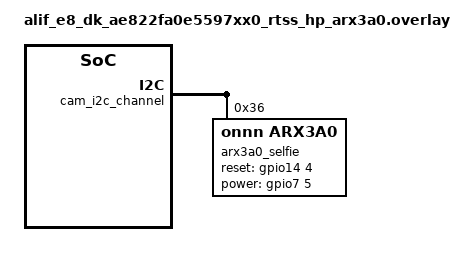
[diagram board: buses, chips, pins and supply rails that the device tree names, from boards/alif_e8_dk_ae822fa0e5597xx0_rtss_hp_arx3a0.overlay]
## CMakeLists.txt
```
# Copyright Alif Semiconductor - All Rights Reserved.
# Use, distribution and modification of this code is permitted under the
# terms stated in the Alif Semiconductor Software License Agreement.

cmake_minimum_required(VERSION 3.20.0)
find_package(Zephyr REQUIRED HINTS $ENV{ZEPHYR_BASE})
project(alif_usb_uvc)

target_sources(app PRIVATE src/test_uvc.c src/platform.c)
target_include_directories(app PRIVATE src)
include(${ZEPHYR_BASE}/samples/subsys/usb/common/common.cmake)
```

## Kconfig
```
# Copyright Alif Semiconductor - All Rights Reserved.
# Use, distribution and modification of this code is permitted under the
# terms stated in the Alif Semiconductor Software License Agreement.

# Source common USB sample options used to initialize USB device stack.
source "samples/subsys/usb/common/Kconfig.sample_usbd"

source "Kconfig.zephyr"
```

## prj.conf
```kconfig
# Copyright Alif Semiconductor - All Rights Reserved.
# Use, distribution and modification of this code is permitted under the
# terms stated in the Alif Semiconductor Software License Agreement.

CONFIG_VIDEO=y
CONFIG_LOG=y
CONFIG_PRINTK=y
CONFIG_STDOUT_CONSOLE=y
CONFIG_I2C=y
CONFIG_I2C_DW_CLOCK_SPEED=100
CONFIG_SYS_HEAP_AUTO=y

CONFIG_USB_DEVICE_STACK_NEXT=y
CONFIG_USBD_VIDEO_CLASS=y
CONFIG_SAMPLE_USBD_PID=0x0009
CONFIG_SAMPLE_USBD_PRODUCT="Alif UVC Video Capture"
CONFIG_SAMPLE_USBD_MANUFACTURER="Alif Semiconductor"

CONFIG_UDC_BUF_POOL_SIZE=8192
CONFIG_UDC_BUF_COUNT=16

CONFIG_UDC_DRIVER_LOG_LEVEL_ERR=y
CONFIG_USBD_LOG_LEVEL_ERR=y
CONFIG_VIDEO_LOG_LEVEL_WRN=y

CONFIG_ZTEST=y
CONFIG_ZTEST_STACK_SIZE=8192
CONFIG_MAIN_STACK_SIZE=4096
CONFIG_SYSTEM_WORKQUEUE_STACK_SIZE=2048
```

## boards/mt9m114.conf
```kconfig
# Extra Kconfig for the E8 DK MT9M114 build. Pass with OVERLAY_CONFIG alongside
# the MT9M114 DTC overlay (see README). The E8 board .conf (ISP lib + JPEG +
# buffer pool) is applied automatically by board name and still holds.

# The MT9M114 here is used on the MIPI CSI-2 (serial) path, not the parallel
# bus. This must be off: with it on the driver drops its higher-resolution CSI
# modes (including the Y10P 1288x728 ISP input this sample uses).
CONFIG_MT9M114_PARALLEL_INIT=n

# The MT9M114 MIPI supply is a fixed regulator (see the overlay). REGULATOR is a
# top-level menuconfig and is not auto-selected by the devicetree node, so
# enable it (and give the fixed regulator an early init priority so the sensor
# is powered before it is probed).
CONFIG_REGULATOR=y
CONFIG_REGULATOR_FIXED_INIT_PRIORITY=40

# Apply the GT911 touch reset-hold GPIO hog from the MT9M114 overlay. The MW405
# display's GT911 touch controller shares i2c1 and has the same address (0x5D)
# as the MT9M114; holding it in reset stops it colliding with the camera.
CONFIG_GPIO_HOGS=y

# Video buffer pool for the 1280x720 pipeline (overrides the E8 board .conf,
# which is sized for the 480x480 ARX3A0 default). The pool holds TWO NV12
# 1280x720 frames (2 x 1280*720*1.5 = 2,764,800 B - two are needed so the ISP
# keeps capturing while one frame is JPEG-encoded and sent) plus the JPEG output
# buffer (width*height = 921,600 B). That is three allocations totalling
# ~3.69 MB, so NUM_MAX must be >= 3. SZ_MAX x NUM_MAX is the total heap:
# 1,250,000 x 3 = 3.75 MB holds all three with headroom and fits SRAM0 (4 MB).
CONFIG_VIDEO_BUFFER_POOL_SZ_MAX=1250000
CONFIG_VIDEO_BUFFER_POOL_NUM_MAX=3
```

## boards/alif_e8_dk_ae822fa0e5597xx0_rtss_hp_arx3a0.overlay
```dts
/* Copyright (C) 2026 Alif Semiconductor - All Rights Reserved.
 * Use, distribution and modification of this code are permitted under the
 * terms stated in the Alif Semiconductor Software License Agreement.
 *
 * You should have received a copy of the Alif Semiconductor Software
 * License Agreement with this file. If not, please write to:
 * contact@alifsemi.com, or visit: https://alifsemi.com/license
 *
 * E8 DK (RTSS-HP) - ARX3A0 sensor overlay:
 *   ARX3A0 (MIPI CSI-2) -> ISP (NV12 560x560) -> Hantro JPEG encoder -> UVC.
 *
 * Merge this on top of the auto-applied board overlay
 * alif_e8_dk_ae822fa0e5597xx0_rtss_hp.overlay with EXTRA_DTC_OVERLAY_FILE (see
 * the README). That board overlay carries all the common E8 plumbing (USB,
 * NON_SECURE0, AIPM, ISP/CPI graph, CSI receiver, i2c-mux, JPEG, UVC); this
 * file only adds the ARX3A0 sensor node and the CSI input endpoint.
 */

#include <dt-bindings/gpio/gpio.h>
#include <dt-bindings/video/video-interfaces.h>

/* ARX3A0 (I2C 0x36) on the camera i2c-mux channel. */
&cam_i2c_channel {
	arx3a0_selfie: arx3a0_selfie@36 {
		compatible = "onnn,arx3a0";
		reg = <0x36>;

		reset-gpios = <&gpio14 4 GPIO_ACTIVE_HIGH>;
		power-gpios = <&gpio7 5 GPIO_ACTIVE_HIGH>;

		status = "okay";

		port {
			arx3a0_csi2_ep_out0: endpoint {
				bus-type = <VIDEO_BUS_TYPE_CSI2_DPHY>;
				link-frequencies = < 400000000 >;
				data-lanes = <1 2>;
				clock-lane = <0>;

				remote-endpoint-label = "csi2_ep_in0";
			};
		};
	};
};

/* CSI input endpoint: the ARX3A0 uses two data lanes. */
&csi {
	ports {
		port@0 {
			reg = <0>;
			csi2_ep_in0: endpoint {
				bus-type = <VIDEO_BUS_TYPE_CSI2_DPHY>;
				data-lanes = <1 2>;
				clock-lane = <0>;

				remote-endpoint-label = "arx3a0_csi2_ep_out0";
			};
		};
	};
};
```

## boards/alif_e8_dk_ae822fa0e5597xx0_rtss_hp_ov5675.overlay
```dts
/* Copyright (C) 2026 Alif Semiconductor - All Rights Reserved.
 * Use, distribution and modification of this code are permitted under the
 * terms stated in the Alif Semiconductor Software License Agreement.
 *
 * You should have received a copy of the Alif Semiconductor Software
 * License Agreement with this file. If not, please write to:
 * contact@alifsemi.com, or visit: https://alifsemi.com/license
 *
 * E8 DK (RTSS-HP) - OV5675 sensor overlay:
 *   OV5675 (MIPI CSI-2, RAW10) -> ISP (NV12 1024x768) -> Hantro JPEG -> UVC.
 *
 * Merge this on top of the auto-applied board overlay
 * alif_e8_dk_ae822fa0e5597xx0_rtss_hp.overlay with EXTRA_DTC_OVERLAY_FILE (see
 * the README). The board overlay carries all the common E8 plumbing; this file
 * adds the OV5675 sensor node, the CSI input endpoint (two data lanes) and the
 * Fast-mode I2C tuning.
 *
 * Resolution: the OV5675 streams its 2x2-binned full-FOV 1296x972 RAW10 mode.
 * The ISP debayers it and DOWNSCALES to 1024x768 NV12 (the app sets that as the
 * ISP output/capture format in main.c; the ISP scaler resizes the full
 * 1296x972 input down to it). 1024x768 keeps the sensor's native 4:3 aspect
 * ratio, has both dimensions 16-pixel aligned (so the Hantro JPEG encoder,
 * which encodes in 16x16 MCUs, needs no edge padding), and its NV12 buffers fit
 * the SRAM0 video pool (see ov5675.conf). No crop is applied here
 * (crop-x0/crop-y0 default to 0), so the full field of view is preserved.
 */

#include <dt-bindings/i2c/i2c.h>
#include <dt-bindings/gpio/gpio.h>
#include <dt-bindings/video/video-interfaces.h>

/* The OV5675 needs Fast-mode I2C (the board overlay only enables i2c1). */
&i2c1 {
	clock-frequency = <I2C_BITRATE_FAST>;

	/*
	 * For Standard  speed LCNT=0  and HCNT=0
	 * For Fast      speed LCNT=50 and HCNT=30
	 * For Fast Plus speed LCNT=35 and HCNT=5
	 */
	hcnt-offset = <30>;
	lcnt-offset = <50>;
};

/* OV5675 on the camera i2c-mux channel. */
&cam_i2c_channel {
	/* 0x10 for the compact module, 0x36 for the legacy one. */
	ov5675_selfie: ov5675_selfie@10 {
		compatible = "ovti,ov5675";
		reg = <0x10>;

		reset-gpios = <&gpio14 4 GPIO_ACTIVE_HIGH>;
		power-gpios = <&gpio7 5 GPIO_ACTIVE_HIGH>;

		status = "okay";

		port {
			ov5675_csi2_ep_out0: endpoint {
				bus-type = <VIDEO_BUS_TYPE_CSI2_DPHY>;
				link-frequencies = < 400000000 >;
				data-lanes = <1 2>;
				clock-lane = <0>;

				remote-endpoint-label = "csi2_ep_in0";
			};
		};
	};
};

/* CSI input endpoint: the OV5675 uses two data lanes. */
&csi {
	ports {
		port@0 {
			reg = <0>;
			csi2_ep_in0: endpoint {
				bus-type = <VIDEO_BUS_TYPE_CSI2_DPHY>;
				data-lanes = <1 2>;
				clock-lane = <0>;

				remote-endpoint-label = "ov5675_csi2_ep_out0";
			};
		};
	};
};
```

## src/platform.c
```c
/*
 * Copyright (C) 2026 Alif Semiconductor.
 * SPDX-License-Identifier: Apache-2.0
 *
 * SoC bring-up for the UVC webcam sample: the SE-service run profile plus the
 * camera pixel clock (and, on the parallel-camera boards, the OV5640 enable
 * buffer). This is board/SoC plumbing that runs once at PRE_KERNEL_1 and is
 * not part of the UVC sample logic, so it lives here rather than in main.c.
 */

#include "pipeline.h"

#include <zephyr/kernel.h>
#include <zephyr/init.h>
#include <zephyr/device.h>
#include <zephyr/devicetree.h>
#include <zephyr/drivers/gpio.h>
#include <soc_common.h>
#include <se_service.h>

#include <zephyr/logging/log.h>
LOG_MODULE_REGISTER(uvc_platform, LOG_LEVEL_INF);

#if UVC_OUTPUT_MJPEG
/*
 * Weak hook the Alif ISP library links against to gate its own log output.
 * 0 = silent; raise for ISP-lib debugging.
 */
int log_level(void)
{
	return 0;
}
#endif

/*
 * Program the SE-service run profile and the camera pixel clock so the camera
 * pipeline and USB PHY are powered before the drivers probe. The run profile is
 * common to both pipelines; only the CPU clock, the pixel-clock register and
 * (RGB565 only) the OV5640 enable-buffer GPIO differ.
 */
static int app_set_parameters(void)
{
	run_profile_t runp = { 0 };
	int ret;

#if UVC_OUTPUT_MJPEG
	/* E8: enable HFOSC (38.4 MHz) and CFG (100 MHz) clocks. */
	sys_set_bits(CGU_CLK_ENA, BIT(23) | BIT(7));
#endif

	runp.power_domains  = PD_SYST_MASK | PD_SSE700_AON_MASK | PD_DBSS_MASK;
	runp.dcdc_voltage   = 825;
	runp.dcdc_mode      = DCDC_MODE_PWM;
	runp.aon_clk_src    = CLK_SRC_LFXO;
	runp.run_clk_src    = CLK_SRC_PLL;
	runp.vdd_ioflex_3V3 = IOFLEX_LEVEL_1V8;
#if UVC_OUTPUT_MJPEG && defined(CONFIG_RTSS_HP)
	runp.cpu_clk_freq   = CLOCK_FREQUENCY_400MHZ;
#else
	runp.cpu_clk_freq   = CLOCK_FREQUENCY_160MHZ;
#endif

	runp.memory_blocks = MRAM_MASK;
#if DT_NODE_EXISTS(DT_NODELABEL(sram0))
	runp.memory_blocks |= SRAM0_MASK;
#endif

	runp.phy_pwr_gating  = MIPI_TX_DPHY_MASK | MIPI_RX_DPHY_MASK |
			       MIPI_PLL_DPHY_MASK | LDO_PHY_MASK | USB_PHY_MASK;
	runp.ip_clock_gating = CAMERA_MASK | MIPI_CSI_MASK | MIPI_DSI_MASK |
			       USB_MASK;

	ret = se_service_set_run_cfg(&runp);
	if (ret) {
		__ASSERT(false, "SE: set_run_cfg failed = %d", ret);
		return ret;
	}

#if UVC_OUTPUT_MJPEG
	/* CPI/CSI pixel clock (XVCLK) used by the CSI-2 sensor. */
	sys_write32(0x140001, CLKCTRL_PER_MST_CAMERA_PIXCLK_CTRL);
#else
	/* LP-CAM pixel clock and OV5640 enable-buffer GPIO. */
	sys_write32(0x080001, M55HE_CFG_HE_CAMERA_PIXCLK);

	const struct gpio_dt_spec cam_enbuf =
		GPIO_DT_SPEC_GET(DT_NODELABEL(cam_enbuf), enable_gpios);

	gpio_pin_configure_dt(&cam_enbuf, GPIO_OUTPUT_ACTIVE);
#endif

	return 0;
}

SYS_INIT(app_set_parameters, PRE_KERNEL_1, 46);
```

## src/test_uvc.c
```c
/*
 * Copyright Alif Semiconductor - All Rights Reserved.
 * Use, distribution and modification of this code is permitted under the
 * terms stated in the Alif Semiconductor Software License Agreement.
 *
 * Device-side ztest for the E8 DK UVC webcam pipeline. One sensor per image:
 *   MT9M114  Y10P 1288x728 -> NV12/JPEG 1280x720
 *   ARX3A0   Y10P 560x560  -> NV12/JPEG 560x560
 *   OV5675   Y10P 1296x972 -> NV12/JPEG 1024x768
 *
 * Uses the public video and UVC APIs. Does not call usbd_disable: on DWC3
 * that drops the host webcam. After the suite a thread waits for the host
 * COMMIT and streams, so ffplay can be opened once the UART shows SUCCESS.
 */

#include "pipeline.h"

#include <sample_usbd.h>

#include <zephyr/ztest.h>
#include <zephyr/device.h>
#include <zephyr/kernel.h>
#include <zephyr/cache.h>
#include <zephyr/drivers/video.h>
#include <zephyr/drivers/video-controls.h>
#include <zephyr/usb/usbd.h>
#include <zephyr/usb/class/usbd_uvc.h>
#include <zephyr/sys/util.h>

#include <string.h>
#include <errno.h>

#if !UVC_OUTPUT_MJPEG
#error "UVC QA expects the E8 JPEG pipeline (jpeg0 okay)"
#endif

#if DT_NODE_EXISTS(DT_NODELABEL(mt9m114_selfie))
#define UVC_SENSOR_NAME       "MT9M114"
#define UVC_EXPECT_NV12_BYTES 1382400U
#define UVC_EXPECT_JPEG_BYTES 921600U
#define UVC_EXPECT_ISP_PITCH  2576U
#elif DT_NODE_EXISTS(DT_NODELABEL(ov5675_selfie))
#define UVC_SENSOR_NAME       "OV5675"
#define UVC_EXPECT_NV12_BYTES 1179648U
#define UVC_EXPECT_JPEG_BYTES 786432U
#define UVC_EXPECT_ISP_PITCH  2592U
#elif DT_NODE_EXISTS(DT_NODELABEL(arx3a0_selfie))
#define UVC_SENSOR_NAME       "ARX3A0"
#define UVC_EXPECT_NV12_BYTES 470400U
#define UVC_EXPECT_JPEG_BYTES 313600U
#define UVC_EXPECT_ISP_PITCH  1120U
#else
#error "Pass the ARX3A0, MT9M114, or OV5675 EXTRA_DTC_OVERLAY_FILE"
#endif

#define N_CAPTURE_BUFFERS 2
#define CAPTURE_TIMEOUT   K_MSEC(3000)
#define STRESS_POLLS      30
#define STRESS_RESTARTS   4
#define STRESS_JPEGS      8
#define PERF_FRAMES       4

struct uvc_ctx {
	const struct device *isp;
	const struct device *jpeg;
	const struct device *uvc;
	struct usbd_context *usbd;
	struct video_buffer *cap[N_CAPTURE_BUFFERS];
	struct video_buffer *jpeg_buf;
};

static struct uvc_ctx ctx;
static struct uvc_qa_fixture {
	struct uvc_ctx *ctx;
} qa_fixture;

static atomic_t usb_bus_active = ATOMIC_INIT(1);

static void usbd_msg_cb(struct usbd_context *const uds, const struct usbd_msg *const msg)
{
	ARG_UNUSED(uds);

	switch (msg->type) {
	case USBD_MSG_VBUS_REMOVED:
	case USBD_MSG_SUSPEND:
		atomic_set(&usb_bus_active, 0);
		break;
	case USBD_MSG_VBUS_READY:
	case USBD_MSG_RESUME:
		atomic_set(&usb_bus_active, 1);
		break;
	default:
		break;
	}
}

static bool caps_have(const struct video_caps *caps, uint32_t fourcc,
		      uint32_t width, uint32_t height)
{
	const struct video_format_cap *cap;

	if (caps == NULL || caps->format_caps == NULL) {
		return false;
	}

	for (cap = caps->format_caps; cap->pixelformat != 0; cap++) {
		if (cap->pixelformat == fourcc &&
		    width >= cap->width_min && width <= cap->width_max &&
		    height >= cap->height_min && height <= cap->height_max) {
			return true;
		}
	}

	return false;
}

static void isp_reclaim(void)
{
	struct video_buffer *vbuf;

	if (ctx.isp == NULL) {
		return;
	}

	video_stream_stop(ctx.isp);
	video_flush(ctx.isp, VIDEO_EP_OUT, true);
	while (video_dequeue(ctx.isp, VIDEO_EP_OUT, &vbuf, K_NO_WAIT) == 0) {
	}
}

static void jpeg_reclaim(void)
{
	struct video_buffer *vbuf;

	if (ctx.jpeg == NULL) {
		return;
	}

	video_stream_stop(ctx.jpeg);
	while (video_dequeue(ctx.jpeg, VIDEO_EP_OUT, &vbuf, K_NO_WAIT) == 0) {
	}
}

/* Cancel path returns the buffer. Do not call video_stream_stop() here:
 * that sets the class paused bit. flush() clears it before returning.
 */
static void uvc_reclaim(void)
{
	struct video_buffer *vbuf;

	if (ctx.uvc == NULL) {
		return;
	}

	video_flush(ctx.uvc, VIDEO_EP_IN, true);
	while (video_dequeue(ctx.uvc, VIDEO_EP_OUT, &vbuf, K_NO_WAIT) == 0) {
	}
}

static int capture_one(struct video_buffer **out)
{
	int ret;

	for (size_t i = 0; i < N_CAPTURE_BUFFERS; i++) {
		ret = video_enqueue(ctx.isp, VIDEO_EP_OUT, ctx.cap[i]);
		if (ret) {
			return ret;
		}
	}

	ret = video_stream_start(ctx.isp);
	if (ret) {
		return ret;
	}

	ret = video_dequeue(ctx.isp, VIDEO_EP_OUT, out, CAPTURE_TIMEOUT);
	if (ret == 0) {
		sys_cache_data_invd_range((*out)->buffer, CAPTURE_FRAME_BYTES);
	}

	return ret;
}

static int jpeg_encode(struct video_buffer *nv12, struct video_buffer *out, size_t *out_len)
{
	struct video_format jfmt = {
		.pixelformat = CAPTURE_FORMAT,
		.width = CAPTURE_WIDTH,
		.height = CAPTURE_HEIGHT,
		.pitch = JPEG_INPUT_PITCH,
	};
	struct video_buffer *deq = NULL;
	uint16_t quality = JPEG_QUALITY;
	int ret;

	ret = video_set_format(ctx.jpeg, VIDEO_EP_IN, &jfmt);
	if (ret) {
		return ret;
	}

	ret = video_set_ctrl(ctx.jpeg, VIDEO_CID_JPEG_COMPRESSION_QUALITY, &quality);
	if (ret) {
		return ret;
	}

	ret = video_set_ctrl(ctx.jpeg, VIDEO_CID_JPEG_INPUT_BUFFER, nv12->buffer);
	if (ret) {
		return ret;
	}

	out->bytesused = out->size - CONFIG_VIDEO_JPEG_HANTRO_VC9000E_HEADER_SIZE;

	ret = video_enqueue(ctx.jpeg, VIDEO_EP_OUT, out);
	if (ret) {
		jpeg_reclaim();
		return ret;
	}

	ret = video_stream_start(ctx.jpeg);
	if (ret && ret != -EALREADY) {
		jpeg_reclaim();
		return ret;
	}

	ret = video_dequeue(ctx.jpeg, VIDEO_EP_OUT, &deq, K_SECONDS(5));
	if (ret == 0) {
		*out_len = deq->bytesused;
	}
	jpeg_reclaim();
	return ret;
}

static bool uvc_committed(struct video_format *fmt)
{
	return atomic_get(&usb_bus_active) != 0 &&
	       video_get_format(ctx.uvc, VIDEO_EP_OUT, fmt) == 0;
}

static int rearm_capture(struct video_buffer *vbuf)
{
	int ret;

	ret = video_enqueue(ctx.isp, VIDEO_EP_OUT, vbuf);
	if (ret) {
		return ret;
	}

	ret = video_stream_start(ctx.isp);
	if (ret && ret != -EBUSY) {
		return ret;
	}

	return 0;
}

static void uvc_demo(void *p1, void *p2, void *p3)
{
	struct video_buffer *vbuf;
	struct video_buffer *sent;
	size_t send_len;
	int ret;

	ARG_UNUSED(p1);
	ARG_UNUSED(p2);
	ARG_UNUSED(p3);

	printk("UVC host demo: %s MJPEG %ux%u. Waiting for COMMIT.\n",
	       UVC_SENSOR_NAME, CAPTURE_WIDTH, CAPTURE_HEIGHT);

	while (1) {
		struct video_format neg;

		if (!uvc_committed(&neg)) {
			k_msleep(20);
			continue;
		}

		ret = 0;
		for (size_t i = 0; i < N_CAPTURE_BUFFERS; i++) {
			ret = video_enqueue(ctx.isp, VIDEO_EP_OUT, ctx.cap[i]);
			if (ret) {
				break;
			}
		}
		if (ret == 0) {
			ret = video_stream_start(ctx.isp);
		}
		if (ret) {
			isp_reclaim();
			k_msleep(100);
			continue;
		}

		printk("Capture session started (%u buffers)\n", N_CAPTURE_BUFFERS);

		while (uvc_committed(&neg)) {
			ret = video_dequeue(ctx.isp, VIDEO_EP_OUT, &vbuf, CAPTURE_TIMEOUT);
			if (ret) {
				break;
			}

			sys_cache_data_invd_range(vbuf->buffer, CAPTURE_FRAME_BYTES);
			ret = jpeg_encode(vbuf, ctx.jpeg_buf, &send_len);
			if (ret) {
				if (rearm_capture(vbuf)) {
					break;
				}
				continue;
			}

			ctx.jpeg_buf->bytesused = send_len;
			ret = video_enqueue(ctx.uvc, VIDEO_EP_IN, ctx.jpeg_buf);
			if (ret) {
				break;
			}

			ret = video_dequeue(ctx.uvc, VIDEO_EP_OUT, &sent, CAPTURE_TIMEOUT);
			if (ret) {
				break;
			}

			if (rearm_capture(vbuf)) {
				break;
			}
		}

		isp_reclaim();
		uvc_reclaim();
		printk("Capture session stopped\n");
	}
}

K_THREAD_STACK_DEFINE(uvc_demo_stack, 8192);
static struct k_thread uvc_demo_thread;

static void start_host_demo(void)
{
	if (ctx.jpeg_buf == NULL || ctx.cap[0] == NULL) {
		return;
	}

	k_thread_create(&uvc_demo_thread, uvc_demo_stack,
			K_THREAD_STACK_SIZEOF(uvc_demo_stack),
			uvc_demo, NULL, NULL, NULL,
			K_PRIO_PREEMPT(7), 0, K_NO_WAIT);
	k_thread_name_set(&uvc_demo_thread, "uvc_demo");
}

/*
 * Geometry and USB identity. These do not start the sensor.
 * One case covers the sensor name, fourccs, Y10P input, NV12 frame, and JPEG cap.
 */
ZTEST(uvc_basic, test_pipeline_geometry)
{
	zassert_true(CAPTURE_WIDTH > 0 && ISP_INPUT_WIDTH > 0, "geometry");
	zassert_equal(VIDEO_PIX_FMT_NV12, VIDEO_FOURCC('N', 'V', '1', '2'), "NV12");
	zassert_equal(VIDEO_PIX_FMT_Y10P, VIDEO_FOURCC('Y', '1', '0', 'P'), "Y10P");
	zassert_equal(VIDEO_PIX_FMT_JPEG, VIDEO_FOURCC('J', 'P', 'E', 'G'), "JPEG");

	zassert_equal(ISP_INPUT_FORMAT, VIDEO_PIX_FMT_Y10P, "Y10P");
	zassert_equal(ISP_INPUT_PITCH, UVC_EXPECT_ISP_PITCH, "Y10P pitch");
	zassert_equal(ISP_INPUT_PITCH, ISP_INPUT_WIDTH * 2U, "width*2");

	zassert_equal(CAPTURE_FORMAT, VIDEO_PIX_FMT_NV12, "NV12 fmt");
	zassert_equal(CAPTURE_PITCH, (CAPTURE_WIDTH * 3U) / 2U, "NV12 pitch");
	zassert_equal(CAPTURE_FRAME_BYTES, UVC_EXPECT_NV12_BYTES, "NV12 bytes");
	zassert_equal(CAPTURE_FRAME_BYTES, CAPTURE_PITCH * CAPTURE_HEIGHT, "pitch*height");

	zassert_equal(JPEG_OUTPUT_MAX_BYTES, CAPTURE_WIDTH * CAPTURE_HEIGHT, "width*height");
	zassert_equal(JPEG_OUTPUT_MAX_BYTES, UVC_EXPECT_JPEG_BYTES, "JPEG cap");
	zassert_equal(JPEG_INPUT_PITCH, ROUND_UP(CAPTURE_WIDTH, 16), "encoder pitch");
	zassert_true(JPEG_QUALITY > 0 && JPEG_QUALITY <= 100, "quality");

	TC_PRINT("%s Y10P %ux%u -> NV12 %ux%u (%u bytes), JPEG cap %u quality %u\n",
		 UVC_SENSOR_NAME, ISP_INPUT_WIDTH, ISP_INPUT_HEIGHT,
		 CAPTURE_WIDTH, CAPTURE_HEIGHT, CAPTURE_FRAME_BYTES,
		 JPEG_OUTPUT_MAX_BYTES, JPEG_QUALITY);
}

ZTEST(uvc_basic, test_usb_identity)
{
	zassert_equal(CONFIG_SAMPLE_USBD_PID, 0x0009, "PID");
	zassert_true(strcmp(CONFIG_SAMPLE_USBD_PRODUCT, "Alif UVC Video Capture") == 0,
		     "product string");
	zassert_true(strcmp(CONFIG_SAMPLE_USBD_MANUFACTURER, "Alif Semiconductor") == 0,
		     "manufacturer");
	TC_PRINT("USB 2fe3:%04x %s\n", CONFIG_SAMPLE_USBD_PID, CONFIG_SAMPLE_USBD_PRODUCT);
}

ZTEST_SUITE(uvc_basic, NULL, NULL, NULL, NULL, NULL);

static void *uvc_qa_setup(void)
{
	struct video_format in_fmt = {
		.pixelformat = ISP_INPUT_FORMAT,
		.width = ISP_INPUT_WIDTH,
		.height = ISP_INPUT_HEIGHT,
		.pitch = ISP_INPUT_PITCH,
	};
	struct video_format fmt = {
		.pixelformat = CAPTURE_FORMAT,
		.width = CAPTURE_WIDTH,
		.height = CAPTURE_HEIGHT,
		.pitch = CAPTURE_PITCH,
	};
	struct video_format enc_in = {
		.pixelformat = CAPTURE_FORMAT,
		.width = CAPTURE_WIDTH,
		.height = CAPTURE_HEIGHT,
		.pitch = JPEG_INPUT_PITCH,
	};
	int ret;

	ctx.isp = DEVICE_DT_GET_ONE(vsi_isp_pico);
	ctx.jpeg = DEVICE_DT_GET(DT_NODELABEL(jpeg0));
	ctx.uvc = DEVICE_DT_GET(DT_NODELABEL(uvc));

	zassert_true(device_is_ready(ctx.isp), "ISP not ready");
	zassert_true(device_is_ready(ctx.jpeg), "JPEG not ready");
	zassert_true(device_is_ready(ctx.uvc), "UVC not ready");
	TC_PRINT("Device name: %s\n", ctx.isp->name);

	ret = video_set_format(ctx.isp, VIDEO_EP_IN, &in_fmt);
	zassert_equal(ret, 0, "ISP input format %d", ret);
	TC_PRINT("ISP input format: Y10P %ux%u\n", ISP_INPUT_WIDTH, ISP_INPUT_HEIGHT);

	ret = video_set_format(ctx.isp, VIDEO_EP_OUT, &fmt);
	zassert_equal(ret, 0, "capture format %d", ret);
	TC_PRINT("capture format: NV12 %ux%u\n", CAPTURE_WIDTH, CAPTURE_HEIGHT);

	ret = video_set_format(ctx.jpeg, VIDEO_EP_IN, &enc_in);
	zassert_equal(ret, 0, "JPEG input format %d", ret);

	for (size_t i = 0; i < N_CAPTURE_BUFFERS; i++) {
		ctx.cap[i] = video_buffer_aligned_alloc(CAPTURE_FRAME_BYTES,
							CAPTURE_BUF_ALIGN, K_NO_WAIT);
		zassert_not_null(ctx.cap[i], "capture buffer %zu", i);
		TC_PRINT("capture buffer %zu: %u bytes at %p\n",
			 i, CAPTURE_FRAME_BYTES, ctx.cap[i]->buffer);
	}

	ctx.jpeg_buf = video_buffer_aligned_alloc(JPEG_OUTPUT_MAX_BYTES,
						  CAPTURE_BUF_ALIGN, K_NO_WAIT);
	zassert_not_null(ctx.jpeg_buf, "JPEG buffer");
	TC_PRINT("JPEG output buffer: %u bytes at %p\n",
		 JPEG_OUTPUT_MAX_BYTES, ctx.jpeg_buf->buffer);

	uvc_set_video_dev(ctx.uvc, ctx.jpeg);

	ctx.usbd = sample_usbd_init_device(usbd_msg_cb);
	zassert_not_null(ctx.usbd, "USB init");
	ret = usbd_enable(ctx.usbd);
	zassert_equal(ret, 0, "usbd_enable %d", ret);
	TC_PRINT("UVC webcam enabled - waiting for host to open the stream.\n");

	qa_fixture.ctx = &ctx;
	return &qa_fixture;
}

static void uvc_qa_before(void *fixture)
{
	ARG_UNUSED(fixture);
	isp_reclaim();
	jpeg_reclaim();
	uvc_reclaim();
}

static void uvc_qa_teardown(void *fixture)
{
	ARG_UNUSED(fixture);
	isp_reclaim();
	jpeg_reclaim();
	uvc_reclaim();
	start_host_demo();
}

ZTEST_F(uvc_qa, test_devices_ready)
{
	zassert_true(device_is_ready(fixture->ctx->isp), "ISP");
	zassert_true(device_is_ready(fixture->ctx->jpeg), "JPEG");
	zassert_true(device_is_ready(fixture->ctx->uvc), "UVC");
	zassert_not_null(fixture->ctx->isp->name, "ISP name");
	TC_PRINT("ISP %s, JPEG %s, UVC %s\n",
		 fixture->ctx->isp->name, fixture->ctx->jpeg->name, fixture->ctx->uvc->name);
}

ZTEST_F(uvc_qa, test_pipeline_formats)
{
	struct video_format isp_in = { 0 };
	struct video_format isp_out = { 0 };
	struct video_format jpeg_in = { 0 };
	struct video_format jpeg_out = { 0 };

	zassert_equal(video_get_format(fixture->ctx->isp, VIDEO_EP_IN, &isp_in), 0, "ISP in");
	zassert_equal(isp_in.pixelformat, VIDEO_PIX_FMT_Y10P, "Y10P");
	zassert_equal(isp_in.width, ISP_INPUT_WIDTH, "ISP in width");
	zassert_equal(isp_in.height, ISP_INPUT_HEIGHT, "ISP in height");

	zassert_equal(video_get_format(fixture->ctx->isp, VIDEO_EP_OUT, &isp_out), 0, "ISP out");
	zassert_equal(isp_out.pixelformat, VIDEO_PIX_FMT_NV12, "NV12");
	zassert_equal(isp_out.width, CAPTURE_WIDTH, "capture width");
	zassert_equal(isp_out.height, CAPTURE_HEIGHT, "capture height");

	zassert_equal(video_get_format(fixture->ctx->jpeg, VIDEO_EP_IN, &jpeg_in), 0, "JPEG in");
	zassert_equal(jpeg_in.pixelformat, VIDEO_PIX_FMT_NV12, "JPEG in NV12");
	zassert_equal(jpeg_in.width, CAPTURE_WIDTH, "JPEG in width");
	zassert_equal(jpeg_in.height, CAPTURE_HEIGHT, "JPEG in height");

	zassert_equal(video_get_format(fixture->ctx->jpeg, VIDEO_EP_OUT, &jpeg_out), 0, "JPEG out");
	zassert_equal(jpeg_out.pixelformat, VIDEO_PIX_FMT_JPEG, "JPEG");
	zassert_equal(jpeg_out.width, CAPTURE_WIDTH, "JPEG out width");
	zassert_equal(jpeg_out.height, CAPTURE_HEIGHT, "JPEG out height");

	TC_PRINT("Y10P %ux%u -> NV12 %ux%u -> JPEG %ux%u\n",
		 isp_in.width, isp_in.height, isp_out.width, isp_out.height,
		 jpeg_out.width, jpeg_out.height);
}

ZTEST_F(uvc_qa, test_caps_and_buffers)
{
	struct video_caps jpeg_caps = { 0 };
	struct video_caps uvc_caps = { 0 };
	struct video_buffer *jbuf = fixture->ctx->jpeg_buf;

	zassert_equal(video_get_caps(fixture->ctx->jpeg, VIDEO_EP_OUT, &jpeg_caps), 0, "JPEG caps");
	zassert_true(caps_have(&jpeg_caps, VIDEO_PIX_FMT_JPEG, CAPTURE_WIDTH, CAPTURE_HEIGHT),
		     "JPEG caps missing the capture frame");
	zassert_equal(video_get_caps(fixture->ctx->uvc, VIDEO_EP_OUT, &uvc_caps), 0, "UVC caps");
	zassert_true(caps_have(&uvc_caps, VIDEO_PIX_FMT_JPEG, CAPTURE_WIDTH, CAPTURE_HEIGHT),
		     "UVC did not mirror the JPEG frame");

	for (size_t i = 0; i < N_CAPTURE_BUFFERS; i++) {
		struct video_buffer *buf = fixture->ctx->cap[i];

		zassert_not_null(buf, "buf %zu", i);
		zassert_not_null(buf->buffer, "data %zu", i);
		zassert_true(buf->size >= CAPTURE_FRAME_BYTES, "size %zu", i);
		zassert_equal((uintptr_t)buf->buffer % CAPTURE_BUF_ALIGN, 0, "align %zu", i);
	}

	zassert_not_null(jbuf, "JPEG buf");
	zassert_true(jbuf->size >= JPEG_OUTPUT_MAX_BYTES, "JPEG size");
	zassert_equal((uintptr_t)jbuf->buffer % CAPTURE_BUF_ALIGN, 0, "JPEG align");
	TC_PRINT("JPEG %ux%u, %u NV12 buffers + JPEG %u bytes, align %u\n",
		 CAPTURE_WIDTH, CAPTURE_HEIGHT, N_CAPTURE_BUFFERS,
		 jbuf->size, CAPTURE_BUF_ALIGN);
}

/*
 * USB speed, no committed stream yet, and a buffer round-trip on the UVC
 * queue. If the host already opened the camera, the committed size is checked
 * and the queue flush is skipped so the live stream is left alone.
 */
ZTEST_F(uvc_qa, test_usb_class)
{
	struct video_format fmt = { 0 };
	struct video_frmival frm = { 0 };
	struct video_buffer *back = NULL;
	enum usbd_speed speed = usbd_caps_speed(fixture->ctx->usbd);
	int ret;

	TC_PRINT("USB controller speed capability: %s\n",
		 speed == USBD_SPEED_HS ? "High-Speed" :
		 speed == USBD_SPEED_FS ? "Full-Speed" : "Unknown");
	zassert_true(speed == USBD_SPEED_FS || speed == USBD_SPEED_HS, "speed %d", speed);

	ret = video_get_format(fixture->ctx->uvc, VIDEO_EP_OUT, &fmt);
	if (ret == -EAGAIN) {
		zassert_equal(video_get_frmival(fixture->ctx->uvc, VIDEO_EP_OUT, &frm),
			      -EAGAIN, "frmival");
		ret = video_enqueue(fixture->ctx->uvc, VIDEO_EP_IN, fixture->ctx->jpeg_buf);
		zassert_equal(ret, 0, "enqueue %d", ret);
		ret = video_flush(fixture->ctx->uvc, VIDEO_EP_IN, true);
		zassert_equal(ret, 0, "flush %d", ret);
		ret = video_dequeue(fixture->ctx->uvc, VIDEO_EP_OUT, &back, K_MSEC(100));
		zassert_equal(ret, 0, "dequeue %d", ret);
		zassert_equal_ptr(back, fixture->ctx->jpeg_buf, "buffer returned");
		TC_PRINT("No host COMMIT; UVC queue flush returned the buffer\n");
		return;
	}

	zassert_equal(ret, 0, "get format %d", ret);
	zassert_equal(fmt.pixelformat, VIDEO_PIX_FMT_JPEG, "committed fourcc");
	zassert_equal(fmt.width, CAPTURE_WIDTH, "committed width");
	zassert_equal(fmt.height, CAPTURE_HEIGHT, "committed height");
	TC_PRINT("Host already committed JPEG %ux%u; queue flush skipped\n",
		 fmt.width, fmt.height);
}

ZTEST_F(uvc_qa, test_capture_jpeg)
{
	struct video_buffer *frame = NULL;
	size_t len = 0;
	int ret = capture_one(&frame);

	zassert_equal(ret, 0, "capture %d", ret);
	zassert_not_null(frame, "frame");
	zassert_not_null(frame->buffer, "data");
	zassert_true(frame->size >= CAPTURE_FRAME_BYTES, "size %u", frame->size);
	TC_PRINT("Captured NV12 frame, bytesused %u size %u\n",
		 frame->bytesused, frame->size);

	ret = jpeg_encode(frame, fixture->ctx->jpeg_buf, &len);
	zassert_equal(ret, 0, "encode %d", ret);
	zassert_true(len > 2 && len <= JPEG_OUTPUT_MAX_BYTES, "len %zu", len);
	zassert_equal(fixture->ctx->jpeg_buf->buffer[0], 0xff, "SOI0");
	zassert_equal(fixture->ctx->jpeg_buf->buffer[1], 0xd8, "SOI1");
	TC_PRINT("JPEG SOI ok, %zu bytes (cap %u)\n", len, JPEG_OUTPUT_MAX_BYTES);
	isp_reclaim();
}

ZTEST_F(uvc_qa, test_stress)
{
	struct video_buffer *frame = NULL;
	int ret;

	for (int i = 0; i < STRESS_POLLS; i++) {
		struct video_format in = { 0 };
		struct video_format out = { 0 };

		zassert_equal(video_get_format(fixture->ctx->isp, VIDEO_EP_IN, &in), 0, "in %d", i);
		zassert_equal(video_get_format(fixture->ctx->isp, VIDEO_EP_OUT, &out), 0, "out %d", i);
		zassert_equal(in.pixelformat, VIDEO_PIX_FMT_Y10P, "Y10P");
		zassert_equal(out.pixelformat, VIDEO_PIX_FMT_NV12, "NV12");
		zassert_equal(out.width, CAPTURE_WIDTH, "width");
		zassert_equal(out.height, CAPTURE_HEIGHT, "height");
	}

	for (int i = 0; i < STRESS_RESTARTS; i++) {
		ret = capture_one(&frame);
		zassert_equal(ret, 0, "restart %d capture %d", i, ret);
		zassert_not_null(frame, "frame %d", i);
		isp_reclaim();
		k_msleep(20);
	}

	ret = capture_one(&frame);
	zassert_equal(ret, 0, "stress capture %d", ret);
	for (int i = 0; i < STRESS_JPEGS; i++) {
		size_t len = 0;

		ret = jpeg_encode(frame, fixture->ctx->jpeg_buf, &len);
		zassert_equal(ret, 0, "encode %d -> %d", i, ret);
		zassert_true(len > 2 && len <= JPEG_OUTPUT_MAX_BYTES, "len %zu", len);
		zassert_equal(fixture->ctx->jpeg_buf->buffer[0], 0xff, "SOI");
		zassert_equal(fixture->ctx->jpeg_buf->buffer[1], 0xd8, "SOI");
	}

	TC_PRINT("Stress: format x%d, capture restart x%d, JPEG x%d\n",
		 STRESS_POLLS, STRESS_RESTARTS, STRESS_JPEGS);
	isp_reclaim();
}

ZTEST_F(uvc_qa, test_perf)
{
	struct video_buffer *frame = NULL;
	int64_t cap_total = 0;
	int64_t jpeg_total = 0;
	size_t last = 0;
	int ret;

	for (size_t i = 0; i < N_CAPTURE_BUFFERS; i++) {
		ret = video_enqueue(fixture->ctx->isp, VIDEO_EP_OUT, fixture->ctx->cap[i]);
		zassert_equal(ret, 0, "enqueue %d", ret);
	}
	ret = video_stream_start(fixture->ctx->isp);
	zassert_equal(ret, 0, "start %d", ret);

	for (int i = 0; i < PERF_FRAMES; i++) {
		int64_t t0 = k_uptime_get();
		int64_t ms;

		ret = video_dequeue(fixture->ctx->isp, VIDEO_EP_OUT, &frame, CAPTURE_TIMEOUT);
		ms = k_uptime_delta(&t0);
		cap_total += ms;
		zassert_equal(ret, 0, "frame %d dequeue %d", i, ret);
		TC_PRINT("capture frame %d: %lld ms\n", i, ms);
		sys_cache_data_invd_range(frame->buffer, CAPTURE_FRAME_BYTES);
		ret = rearm_capture(frame);
		zassert_equal(ret, 0, "rearm %d", ret);
	}
	isp_reclaim();

	ret = capture_one(&frame);
	zassert_equal(ret, 0, "perf capture %d", ret);
	for (int i = 0; i < PERF_FRAMES; i++) {
		int64_t t0 = k_uptime_get();
		int64_t ms;
		size_t len = 0;

		ret = jpeg_encode(frame, fixture->ctx->jpeg_buf, &len);
		ms = k_uptime_delta(&t0);
		jpeg_total += ms;
		zassert_equal(ret, 0, "encode %d -> %d", i, ret);
		zassert_true(len > 2, "empty jpeg");
		last = len;
		TC_PRINT("jpeg frame %d: %lld ms, %zu bytes\n", i, ms, len);
	}

	TC_PRINT("capture avg %lld ms, jpeg avg %lld ms, last %zu bytes (not USB wire)\n",
		 cap_total / PERF_FRAMES, jpeg_total / PERF_FRAMES, last);
	isp_reclaim();
}

ZTEST_F(uvc_qa, test_host_commit_mjpeg)
{
	struct video_format fmt = { 0 };
	int ret = video_get_format(fixture->ctx->uvc, VIDEO_EP_OUT, &fmt);

	if (ret == -EAGAIN) {
		TC_PRINT("Skip: host has not COMMIT. After SUCCESS run "
			 "ffplay -f v4l2 -input_format mjpeg -video_size %ux%u /dev/videoN\n",
			 CAPTURE_WIDTH, CAPTURE_HEIGHT);
		ztest_test_skip();
	}

	zassert_equal(ret, 0, "commit %d", ret);
	zassert_equal(fmt.pixelformat, VIDEO_PIX_FMT_JPEG, "JPEG");
	zassert_equal(fmt.width, CAPTURE_WIDTH, "width");
	zassert_equal(fmt.height, CAPTURE_HEIGHT, "height");
	TC_PRINT("Host COMMIT JPEG %ux%u\n", fmt.width, fmt.height);
}

ZTEST_F(uvc_qa, test_usb_disable_reenable)
{
	TC_PRINT("Skip usbd_disable: UVC+DWC3 halt drops the host webcam\n");
	ztest_test_skip();
}

ZTEST_SUITE(uvc_qa, NULL, uvc_qa_setup, uvc_qa_before, NULL, uvc_qa_teardown);
```
